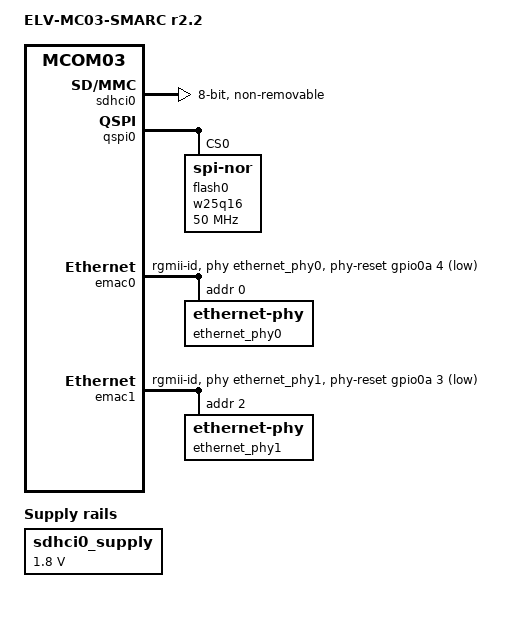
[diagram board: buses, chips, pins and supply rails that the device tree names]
// SPDX-License-Identifier: GPL-2.0+
/*
 * Copyright 2023 RnD Center "ELVEES", JSC
 */

/dts-v1/;

#include <dt-bindings/gpio/gpio.h>

#include "mcom03.dtsi"

/ {
	model = "ELV-MC03-SMARC r2.2";
	compatible = "elvees,elvmc03smarc-r2.2",
		     "elvees,elvmc03smarc",
		     "elvees,mcom03";

	sdhci0_supply: regulator@0 {
		compatible = "regulator-fixed";
		regulator-name = "sdhci0-supply";
		regulator-min-microvolt = <1800000>;
		regulator-max-microvolt = <1800000>;
		regulator-always-on;
	};
};

/* Connected to eMMC */
&sdhci0 {
	status = "okay";

	non-removable;
	bus-width = <8>;

	vqmmc-supply = <&sdhci0_supply>;
};

&qspi0 {
	status = "okay";

	flash0: w25q16@0 {
		#address-cells = <1>;
		#size-cells = <1>;
		compatible = "jedec,spi-nor", "spi-flash";
		reg = <0x0>;

		spi-max-frequency = <50000000>;

		spi-tx-bus-width = <4>;
		spi-rx-bus-width = <4>;
	};
};

/* Serial port definitions for SMARC */
ser0: &uart3 { };
ser1: &uart0 { };
ser2: &uart2 { };
ser3: &uart1 { };

/* PHY VDD is 3.3V */
&emac0 {
	phy-mode = "rgmii-id";
	phy-reset-gpios = <&gpio0a 4 GPIO_ACTIVE_LOW>;
	phy-handle = <&ethernet_phy0>;

	ethernet_phy0: ethernet-phy@0 {
		reg = <0x0>;
		motorcomm,clk-out-frequency-hz = <0>;
		rx-internal-delay-ps = <1800>;
		tx-internal-delay-ps = <1200>;
	};
};

/* PHY VDD is 3.3V */
&emac1 {
	phy-mode = "rgmii-id";
	phy-reset-gpios = <&gpio0a 3 GPIO_ACTIVE_LOW>;
	phy-handle = <&ethernet_phy1>;

	ethernet_phy1: ethernet-phy@2 {
		reg = <0x2>;
		motorcomm,clk-out-frequency-hz = <0>;
		rx-internal-delay-ps = <1900>;
		tx-internal-delay-ps = <1650>;
	};
};
